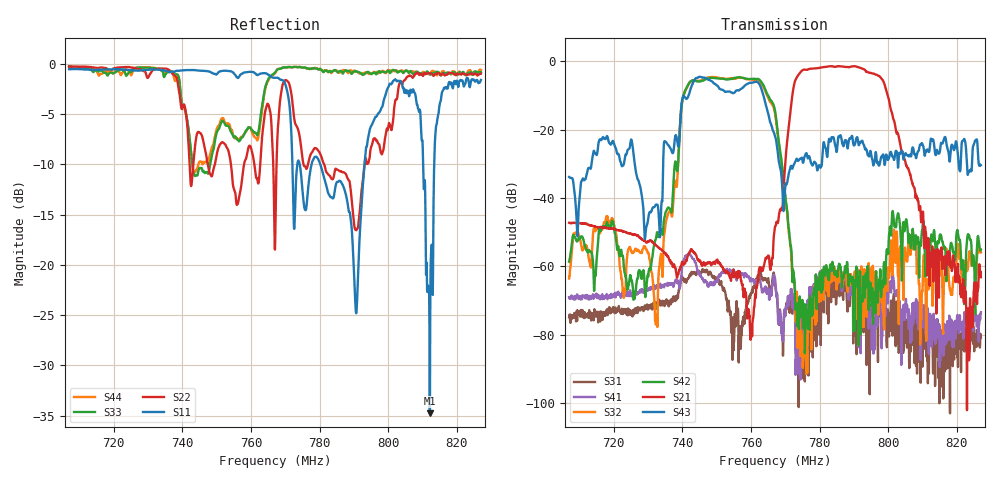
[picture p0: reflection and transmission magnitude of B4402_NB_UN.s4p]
! Matrix data file written by TouchstoneData, EPCOS AG
! FILENAME: "ptable_B4402_02_NB.s4p"
! COMMENT: "(B4402_02_NB.s4p) Epcos AG 1/18/2013 10:00:4"
! INFO: nport=4, nfreq=1601
! DATE: "Mon Feb 11 14:00:00 2013"
! USER: "Michael Schemies"
! port | pin | signal
!  1  |  3  |  Tx
!  2  |  6  |  Ant
!  3  |  8  |  Rx
!  4  |  1  |  Rx
# MHZ S RI R 50
! freq  reS11 imS11  reS12 imS12  reS13 imS13  reS14 imS14  ...
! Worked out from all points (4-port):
!   1601 points, 707 MHz to 827 MHz, reference 50 ohm
!   strongest paths, dB at 707 MHz, 737 MHz, 767 MHz, 797 MHz, 827 MHz:
!     S43: -33.9, -26.7, -21.8, -29.5, -30.4
!     S21: -47.3, -59.4, -48.3, -4.2, -63.2
!     S42: -58.7, -43.3, -14.4, -69.4, -55.1
!     S32: -63.6, -45.5, -15.2, -70.6, -56.0
!     S41: -69.1, -65.1, -63.4, -73.6, -73.5
!     S31: -75.0, -70.5, -64.4, -88.0, -80.8
!   lowest |S11| = -34.8 dB at 812.1 MHz (marker M1), VSWR 1.04, Z = 51.4 + j1.25 ohm
!   |S11| at or under -10 dB: 774.2236 MHz to 777.6493 MHz (3.426 MHz wide, 0.441 % of centre); 780.2 MHz to 793.1 MHz (12.86 MHz wide, 1.63 % of centre); 810.1659 MHz to 813.394 MHz (3.228 MHz wide, 0.398 % of centre) (the widest 3 of 4)
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707  -0.6749 -0.658  0.0041 -0.00128  -0.000166 6.47e-05  -0.000347 0.0001
     0.00413 -0.00128  -0.047 -0.9682  0.000427 -0.000535  -0.000863 0.000788
     -0.000155 8.96e-05  0.000451 -0.000483  0.3417 -0.9117  0.0194 0.00589
     -0.000336 0.000101  -0.00087 0.000778  0.0194 0.00592  0.3498 -0.9115
732.275  -0.7844 -0.517  0.00184 -0.000889  -0.00021 0.000159  -0.000377 0.000308
         0.00186 -0.000879  -0.3942 -0.8585  -8.27e-05 -0.000102  -0.00202 0.00147
         -0.000213 0.000176  -0.000105 -9.26e-05  -0.1806 -0.9345  -0.00598 0.00525
         -0.000384 0.000304  -0.00203 0.00147  -0.00599 0.00525  -0.1739 -0.9392
748.625  -0.853 -0.298  0.000786 0.000732  -8.79e-05 0.000728  -0.000366 -0.000374
         0.000776 0.00076  -0.1007 -0.2573  0.2008 0.5546  -0.2174 -0.5335
         -8.8e-05 0.000704  0.2013 0.5563  0.2433 -0.2554  0.1604 -0.4849
         -0.000372 -0.000414  -0.2171 -0.5325  0.1606 -0.4842  0.2355 -0.3046
760.175  -0.9148 -0.00702  7.47e-05 -0.000101  -0.000185 0.000389  0.000623 1.76e-05
         9.17e-05 -0.000105  -0.000336 -0.3727  -0.4547 -0.2952  0.4711 0.2901
         -0.000167 0.000374  -0.4536 -0.2958  0.2656 0.3887  -0.0779 0.4804
         0.000645 -1.4e-05  0.4705 0.2896  -0.0775 0.4794  0.2865 0.3649
783.05  0.1892 0.1102  0.4365 0.7254  0.000124 -0.000371  -0.000496 0.000763
        0.4378 0.7262  0.00572 -0.2772  -0.000645 -0.00032  0.000519 0.000731
        0.000104 -0.000387  -0.000598 -0.000312  0.8286 -0.4104  0.00283 0.0692
        -0.000465 0.000755  0.000527 0.000724  0.00284 0.0689  0.8333 -0.4016
812.15  0.0136 0.0122  0.000963 -2.78e-06  -6.75e-05 4.52e-05  -0.000149 2e-05
        0.000969 1.65e-05  0.7417 -0.5077  -0.000832 0.000203  0.000338 0.00133
        -0.000106 8.42e-05  -0.000809 0.000199  0.6774 -0.5761  0.0123 0.0561
        -0.000151 2.83e-05  0.000328 0.00135  0.0124 0.056  0.702 -0.5525
827  -0.00291 -0.8327  0.000667 0.000182  -7.71e-05 -2.06e-05  -0.000197 -2.74e-05
     0.000667 0.000184  0.5236 -0.7275  -0.00128 0.000938  0.00169 0.00058
     -8.63e-05 -2.85e-05  -0.00126 0.000968  0.6701 -0.6191  0.0243 0.0181
     -0.000201 -6.87e-05  0.00167 0.000554  0.0242 0.018  0.6935 -0.6266
